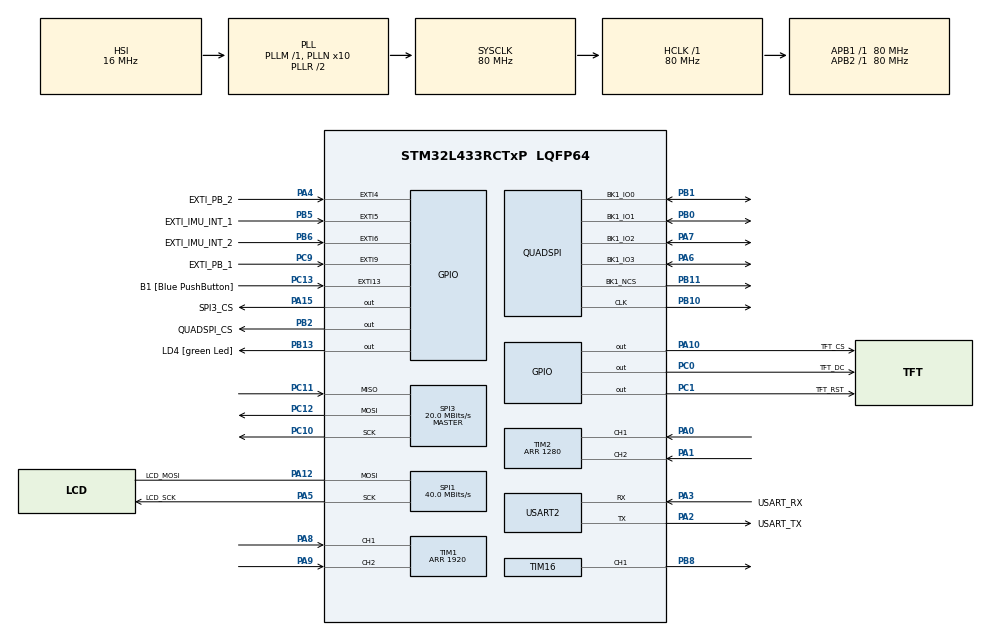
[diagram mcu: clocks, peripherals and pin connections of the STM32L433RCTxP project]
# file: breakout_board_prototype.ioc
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Mcu.Family=STM32L4
Mcu.Name=STM32L433RCTxP
Mcu.Package=LQFP64
NVIC.EXTI4_IRQn=true\:0\:0\:false\:false\:true\:true\:true\:true
NVIC.EXTI9_5_IRQn=true\:0\:0\:false\:false\:true\:true\:true\:true
NVIC.PriorityGroup=NVIC_PRIORITYGROUP_4
PA0.GPIO_PuPd=GPIO_PULLUP
PA0.Signal=S_TIM2_CH1
PA1.GPIO_PuPd=GPIO_PULLUP
PA1.Signal=S_TIM2_CH2
PA10.GPIO_Label=TFT_CS
PA10.GPIO_Speed=GPIO_SPEED_FREQ_VERY_HIGH
PA10.PinState=GPIO_PIN_SET
PA10.Signal=GPIO_Output
PA12.GPIO_Label=LCD_MOSI
PA12.Mode=Simplex_Bidirectional_Master
PA12.Signal=SPI1_MOSI
PA13\ (JTMS-SWDIO).GPIO_Label=TMS
PA13\ (JTMS-SWDIO).Mode=Serial_Wire
PA13\ (JTMS-SWDIO).Signal=SYS_JTMS-SWDIO
PA14\ (JTCK-SWCLK).GPIO_Label=TCK
PA14\ (JTCK-SWCLK).Mode=Serial_Wire
PA14\ (JTCK-SWCLK).Signal=SYS_JTCK-SWCLK
PA15\ (JTDI).GPIO_Label=SPI3_CS
PA15\ (JTDI).Signal=GPIO_Output
PA2.GPIO_Label=USART_TX
PA2.GPIO_Mode=GPIO_MODE_AF_PP
PA2.GPIO_PuPd=GPIO_NOPULL
PA2.GPIO_Speed=GPIO_SPEED_FREQ_VERY_HIGH
PA2.Mode=Asynchronous
PA2.Signal=USART2_TX
PA3.GPIO_Label=USART_RX
PA3.GPIO_Mode=GPIO_MODE_AF_PP
PA3.GPIO_PuPd=GPIO_NOPULL
PA3.GPIO_Speed=GPIO_SPEED_FREQ_VERY_HIGH
PA3.Mode=Asynchronous
PA3.Signal=USART2_RX
PA4.GPIO_Label=EXTI_PB_2
PA4.GPIO_ModeDefaultEXTI=GPIO_MODE_IT_FALLING
PA4.GPIO_PuPd=GPIO_PULLUP
PA4.Signal=GPXTI4
PA5.GPIO_Label=LCD_SCK
PA5.Mode=Simplex_Bidirectional_Master
PA5.Signal=SPI1_SCK
PA6.Mode=Single Bank 1
PA6.Signal=QUADSPI_BK1_IO3
PA7.Mode=Single Bank 1
PA7.Signal=QUADSPI_BK1_IO2
PA8.GPIO_PuPd=GPIO_PULLUP
PA8.Signal=S_TIM1_CH1
PA9.GPIO_PuPd=GPIO_PULLUP
PA9.Signal=S_TIM1_CH2
PB0.Mode=Single Bank 1
PB0.Signal=QUADSPI_BK1_IO1
PB1.Mode=Single Bank 1
PB1.Signal=QUADSPI_BK1_IO0
PB10.Mode=Single Bank 1
PB10.Signal=QUADSPI_CLK
PB11.Mode=Single Bank 1
PB11.Signal=QUADSPI_BK1_NCS
PB13.GPIO_Label=LD4 [green Led]
PB13.Signal=GPIO_Output
PB2.GPIO_Label=QUADSPI_CS
PB2.Signal=GPIO_Output
PB3\ (JTDO-TRACESWO).GPIO_Label=SWO
PB3\ (JTDO-TRACESWO).Signal=SYS_JTDO-SWO
PB5.GPIO_Label=EXTI_IMU_INT_1
PB5.Signal=GPXTI5
PB6.GPIO_Label=EXTI_IMU_INT_2
PB6.Signal=GPXTI6
PB8.GPIO_Speed=GPIO_SPEED_FREQ_HIGH
PB8.Signal=S_TIM16_CH1
PC0.GPIO_Label=TFT_DC
PC0.GPIO_Speed=GPIO_SPEED_FREQ_VERY_HIGH
PC0.Signal=GPIO_Output
PC1.GPIO_Label=TFT_RST
PC1.PinState=GPIO_PIN_SET
PC1.Signal=GPIO_Output
PC10.Mode=Full_Duplex_Master
PC10.Signal=SPI3_SCK
PC11.Mode=Full_Duplex_Master
PC11.Signal=SPI3_MISO
PC12.Mode=Full_Duplex_Master
PC12.Signal=SPI3_MOSI
PC13.GPIO_Label=B1 [Blue PushButton]
PC13.GPIO_ModeDefaultEXTI=GPIO_MODE_IT_FALLING
PC13.GPIO_PuPd=GPIO_NOPULL
PC13.Signal=GPXTI13
PC14-OSC32_IN\ (PC14).Mode=LSE-External-Oscillator
PC14-OSC32_IN\ (PC14).Signal=RCC_OSC32_IN
PC15-OSC32_OUT\ (PC15).Mode=LSE-External-Oscillator
PC15-OSC32_OUT\ (PC15).Signal=RCC_OSC32_OUT
PC9.GPIO_Label=EXTI_PB_1
PC9.GPIO_ModeDefaultEXTI=GPIO_MODE_IT_FALLING
PC9.GPIO_PuPd=GPIO_PULLUP
PC9.Signal=GPXTI9
PH0-OSC_IN\ (PH0).GPIO_Label=MCO
PH0-OSC_IN\ (PH0).Mode=HSE-External-Clock-Source
PH0-OSC_IN\ (PH0).Signal=RCC_OSC_IN
PH1-OSC_OUT\ (PH1).Signal=RCC_OSC_OUT
ProjectManager.HeapSize=0x200
ProjectManager.StackSize=0x400
ProjectManager.TargetToolchain=CMake
RCC.ADCFreq_Value=64000000
RCC.AHBFreq_Value=80000000
RCC.APB1Freq_Value=80000000
RCC.APB1TimFreq_Value=80000000
RCC.APB2Freq_Value=80000000
RCC.APB2TimFreq_Value=80000000
RCC.CortexFreq_Value=80000000
RCC.HCLKFreq_Value=80000000
RCC.HSE_VALUE=8000000
RCC.HSI48_VALUE=48000000
RCC.HSI_VALUE=16000000
RCC.MSI_VALUE=4000000
RCC.PLLN=10
RCC.PLLSourceVirtual=RCC_PLLSOURCE_HSI
RCC.PREFETCH_ENABLE=1
RCC.SYSCLKFreq_VALUE=80000000
RCC.SYSCLKSource=RCC_SYSCLKSOURCE_PLLCLK
RCC.USBFreq_Value=64000000
RCC.VCOOutputFreq_Value=160000000
SH.S_TIM16_CH1.0=TIM16_CH1,PWM Generation1 CH1
SH.S_TIM1_CH1.0=TIM1_CH1,Encoder_Interface
SH.S_TIM1_CH2.0=TIM1_CH2,Encoder_Interface
SH.S_TIM2_CH1.0=TIM2_CH1,Encoder_Interface
SH.S_TIM2_CH2.0=TIM2_CH2,Encoder_Interface
SPI1.BaudRatePrescaler=SPI_BAUDRATEPRESCALER_2
SPI1.CalculateBaudRate=40.0 MBits/s
SPI1.DataSize=SPI_DATASIZE_8BIT
SPI1.Direction=SPI_DIRECTION_1LINE
SPI1.Mode=SPI_MODE_MASTER
SPI1.VirtualType=VM_MASTER
SPI3.BaudRatePrescaler=SPI_BAUDRATEPRESCALER_4
SPI3.CalculateBaudRate=20.0 MBits/s
SPI3.DataSize=SPI_DATASIZE_8BIT
SPI3.Direction=SPI_DIRECTION_2LINES
SPI3.Mode=SPI_MODE_MASTER
SPI3.VirtualType=VM_MASTER
TIM1.EncoderMode=TIM_ENCODERMODE_TI12
TIM1.IC1Filter=15
TIM1.IC1Polarity=TIM_ICPOLARITY_FALLING
TIM1.IC2Filter=15
TIM1.IC2Polarity=TIM_ICPOLARITY_FALLING
TIM1.Period=1920
TIM16.Channel=TIM_CHANNEL_1
TIM16.Period=999
TIM16.Prescaler=79
TIM2.EncoderMode=TIM_ENCODERMODE_TI12
TIM2.IC1Filter=15
TIM2.IC1Polarity=TIM_ICPOLARITY_FALLING
TIM2.IC2Filter=15
TIM2.IC2Polarity=TIM_ICPOLARITY_FALLING
TIM2.Period=1280
USART2.VirtualMode-Asynchronous=VM_ASYNC
VP_TIM16_VS_ClockSourceINT.Mode=Enable_Timer
board=NUCLEO-L433RC-P

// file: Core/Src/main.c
/* USER CODE BEGIN Header */
/**
  ******************************************************************************
  * @file           : main.c
  * @brief          : Main program body
  ******************************************************************************
  * @attention
  *
  * Copyright (c) 2025 STMicroelectronics.
  * All rights reserved.
  *
  * This software is licensed under terms that can be found in the LICENSE file
  * in the root directory of this software component.
  * If no LICENSE file comes with this software, it is provided AS-IS.
  *
  ******************************************************************************
  */
/* USER CODE END Header */
#include "main.h"

/* USER CODE BEGIN Includes */
#include "icm_42688.h"
#include "ili9488.h"
/* USER CODE END Includes */

/* USER CODE BEGIN PD */

#define ETCH_A_SKETCH_YELLOW 0xd592
#define ACCEL_COUNTS_PER_G 16384  // Value for used calibration range
#define UPSIDE_DOWN_THRESHOLD   (int16_t)(-0.7f * ACCEL_COUNTS_PER_G)
#define debug_led_on() HAL_GPIO_WritePin(GPIOB, GPIO_PIN_13, GPIO_PIN_SET)
#define debug_led_off() HAL_GPIO_WritePin(GPIOB, GPIO_PIN_13, GPIO_PIN_RESET)

/* USER CODE END PD */

QSPI_HandleTypeDef hqspi;

SPI_HandleTypeDef hspi1;
SPI_HandleTypeDef hspi3;

TIM_HandleTypeDef htim1;
TIM_HandleTypeDef htim2;
TIM_HandleTypeDef htim16;

UART_HandleTypeDef huart2;

/* USER CODE BEGIN PV */

icm_42688_cfg_t imu_cfg;
volatile uint8_t smd_event_flag = 0;
volatile uint8_t state = 0;
volatile uint8_t last_state = 0;
volatile uint16_t last_x_pos = 1;
volatile uint16_t last_y_pos = 1;

/* USER CODE END PV */

void SystemClock_Config(void);
static void MX_GPIO_Init(void);
static void MX_QUADSPI_Init(void);
static void MX_SPI1_Init(void);
static void MX_TIM1_Init(void);
static void MX_TIM2_Init(void);
static void MX_TIM16_Init(void);
static void MX_USART2_UART_Init(void);
static void MX_SPI3_Init(void);
/* USER CODE BEGIN PFP */

static void clear_screen(int colour);

/* USER CODE END PFP */

int main(void)
{

  /* MCU Configuration--------------------------------------------------------*/

  /* Reset of all peripherals, Initializes the Flash interface and the Systick. */
  HAL_Init();

  /* Configure the system clock */
  SystemClock_Config();

  /* Initialize all configured peripherals */
  MX_GPIO_Init();
  MX_QUADSPI_Init();
  MX_SPI1_Init();
  MX_TIM1_Init();
  MX_TIM2_Init();
  MX_TIM16_Init();
  MX_USART2_UART_Init();
  MX_SPI3_Init();
  /* USER CODE BEGIN 2 */

  TIM16->CCR1 = TIM16->ARR;
  HAL_TIM_PWM_Start(&htim16, TIM_CHANNEL_1);
  HAL_TIM_Encoder_Start(&htim2, TIM_CHANNEL_ALL);
  HAL_TIM_Encoder_Start(&htim1, TIM_CHANNEL_ALL);
  icm_42688_config(&imu_cfg, &hspi3, GPIOA, GPIO_PIN_10);
  icm_42688_configure_device(&imu_cfg);
  icm_42688_apex_sig_motion_detect(&imu_cfg, 1);

  ILI9488_Init();   // Configure ILI9488 registers
  setRotation(3); // Set landscape mode. 0, 0 in bottom right
  clear_screen(ETCH_A_SKETCH_YELLOW);   // Set screen to blank colour
  /* USER CODE END 2 */

  /* Infinite loop */
  /* USER CODE BEGIN WHILE */
  while (1)
  {
    if (smd_event_flag == 1){
      smd_event_flag = 0;
      int16_t data[3] = {0};
      icm_42688_read_accel_xyz(&imu_cfg, data);
      if (data[2] < -UPSIDE_DOWN_THRESHOLD){
        clear_screen(ETCH_A_SKETCH_YELLOW);
      }
    }

    switch (state){
      case 0:
      {
        // Convert capture registers to cursor position
        uint16_t x_pos = TIM1->CNT / 4;
        uint16_t y_pos = TIM2->CNT / 4;

        if (x_pos != last_x_pos){
          uint16_t width = (x_pos > last_x_pos) ? (x_pos - last_x_pos) : (last_x_pos - x_pos);

          // Check for wrap overflow or underflow
          if (width > 440){
            // Normalize to border, recalculate width
            last_x_pos = (last_x_pos > 240) ? 0 : 480;
            width = (x_pos > last_x_pos) ? (x_pos - last_x_pos) : (last_x_pos - x_pos);
          }

          // Start point must be on the right
          uint16_t start_point = (x_pos > last_x_pos) ? last_x_pos : x_pos;
          drawFastHLine(start_point, last_y_pos, width, TFT9341_BLACK);
          last_x_pos = x_pos;
        }

        if (y_pos != last_y_pos){
          uint16_t width = (y_pos > last_y_pos) ? (y_pos - last_y_pos) : (last_y_pos - y_pos);

          // Check for wrap overflow or underflow
          if (width > 300){
            // Normalize to border, recalculate width
            last_y_pos = (last_y_pos > 160) ? 0 : 320;
            width = (y_pos > last_y_pos) ? (y_pos - last_y_pos) : (last_y_pos - y_pos);
          }

          // Start point must be on the bottom
          uint16_t start_point = (y_pos > last_y_pos) ? last_y_pos : y_pos;
          drawFastVLine(last_x_pos, start_point, width, TFT9341_BLACK);
          last_y_pos = y_pos;
        }
      }
      break;
      case 1:
      {
        // Convert TIM2 scale to TIM16 scale with integer division
        TIM16->CCR1 = (TIM2->CNT * TIM16->ARR) / (TIM2->ARR);
      }
      break;
    }

    /* USER CODE END WHILE */

  }
}

void SystemClock_Config(void)
{
  RCC_OscInitTypeDef RCC_OscInitStruct = {0};
  RCC_ClkInitTypeDef RCC_ClkInitStruct = {0};

  /** Configure the main internal regulator output voltage
  */
  if (HAL_PWREx_ControlVoltageScaling(PWR_REGULATOR_VOLTAGE_SCALE1) != HAL_OK)
  {
    Error_Handler();
  }

  /** Initializes the RCC Oscillators according to the specified parameters
  * in the RCC_OscInitTypeDef structure.
  */
  RCC_OscInitStruct.OscillatorType = RCC_OSCILLATORTYPE_HSI;
  RCC_OscInitStruct.HSIState = RCC_HSI_ON;
  RCC_OscInitStruct.HSICalibrationValue = RCC_HSICALIBRATION_DEFAULT;
  RCC_OscInitStruct.PLL.PLLState = RCC_PLL_ON;
  RCC_OscInitStruct.PLL.PLLSource = RCC_PLLSOURCE_HSI;
  RCC_OscInitStruct.PLL.PLLM = 1;
  RCC_OscInitStruct.PLL.PLLN = 10;
  RCC_OscInitStruct.PLL.PLLP = RCC_PLLP_DIV7;
  RCC_OscInitStruct.PLL.PLLQ = RCC_PLLQ_DIV2;
  RCC_OscInitStruct.PLL.PLLR = RCC_PLLR_DIV2;
  if (HAL_RCC_OscConfig(&RCC_OscInitStruct) != HAL_OK)
  {
    Error_Handler();
  }

  /** Initializes the CPU, AHB and APB buses clocks
  */
  RCC_ClkInitStruct.ClockType = RCC_CLOCKTYPE_HCLK|RCC_CLOCKTYPE_SYSCLK
                              |RCC_CLOCKTYPE_PCLK1|RCC_CLOCKTYPE_PCLK2;
  RCC_ClkInitStruct.SYSCLKSource = RCC_SYSCLKSOURCE_PLLCLK;
  RCC_ClkInitStruct.AHBCLKDivider = RCC_SYSCLK_DIV1;
  RCC_ClkInitStruct.APB1CLKDivider = RCC_HCLK_DIV1;
  RCC_ClkInitStruct.APB2CLKDivider = RCC_HCLK_DIV1;

  if (HAL_RCC_ClockConfig(&RCC_ClkInitStruct, FLASH_LATENCY_4) != HAL_OK)
  {
    Error_Handler();
  }
}

static void MX_QUADSPI_Init(void)
{

  /* QUADSPI parameter configuration*/
  hqspi.Instance = QUADSPI;
  hqspi.Init.ClockPrescaler = 255;
  hqspi.Init.FifoThreshold = 1;
  hqspi.Init.SampleShifting = QSPI_SAMPLE_SHIFTING_NONE;
  hqspi.Init.FlashSize = 1;
  hqspi.Init.ChipSelectHighTime = QSPI_CS_HIGH_TIME_1_CYCLE;
  hqspi.Init.ClockMode = QSPI_CLOCK_MODE_0;
  hqspi.Init.FlashID = QSPI_FLASH_ID_1;
  hqspi.Init.DualFlash = QSPI_DUALFLASH_DISABLE;
  if (HAL_QSPI_Init(&hqspi) != HAL_OK)
  {
    Error_Handler();
  }

}

static void MX_SPI1_Init(void)
{

  /* SPI1 parameter configuration*/
  hspi1.Instance = SPI1;
  hspi1.Init.Mode = SPI_MODE_MASTER;
  hspi1.Init.Direction = SPI_DIRECTION_1LINE;
  hspi1.Init.DataSize = SPI_DATASIZE_8BIT;
  hspi1.Init.CLKPolarity = SPI_POLARITY_LOW;
  hspi1.Init.CLKPhase = SPI_PHASE_1EDGE;
  hspi1.Init.NSS = SPI_NSS_SOFT;
  hspi1.Init.BaudRatePrescaler = SPI_BAUDRATEPRESCALER_2;
  hspi1.Init.FirstBit = SPI_FIRSTBIT_MSB;
  hspi1.Init.TIMode = SPI_TIMODE_DISABLE;
  hspi1.Init.CRCCalculation = SPI_CRCCALCULATION_DISABLE;
  hspi1.Init.CRCPolynomial = 7;
  hspi1.Init.CRCLength = SPI_CRC_LENGTH_DATASIZE;
  hspi1.Init.NSSPMode = SPI_NSS_PULSE_ENABLE;
  if (HAL_SPI_Init(&hspi1) != HAL_OK)
  {
    Error_Handler();
  }

}

static void MX_SPI3_Init(void)
{

  /* SPI3 parameter configuration*/
  hspi3.Instance = SPI3;
  hspi3.Init.Mode = SPI_MODE_MASTER;
  hspi3.Init.Direction = SPI_DIRECTION_2LINES;
  hspi3.Init.DataSize = SPI_DATASIZE_8BIT;
  hspi3.Init.CLKPolarity = SPI_POLARITY_LOW;
  hspi3.Init.CLKPhase = SPI_PHASE_1EDGE;
  hspi3.Init.NSS = SPI_NSS_SOFT;
  hspi3.Init.BaudRatePrescaler = SPI_BAUDRATEPRESCALER_4;
  hspi3.Init.FirstBit = SPI_FIRSTBIT_MSB;
  hspi3.Init.TIMode = SPI_TIMODE_DISABLE;
  hspi3.Init.CRCCalculation = SPI_CRCCALCULATION_DISABLE;
  hspi3.Init.CRCPolynomial = 7;
  hspi3.Init.CRCLength = SPI_CRC_LENGTH_DATASIZE;
  hspi3.Init.NSSPMode = SPI_NSS_PULSE_ENABLE;
  if (HAL_SPI_Init(&hspi3) != HAL_OK)
  {
    Error_Handler();
  }

}

static void MX_TIM1_Init(void)
{

  TIM_Encoder_InitTypeDef sConfig = {0};
  TIM_MasterConfigTypeDef sMasterConfig = {0};

  htim1.Instance = TIM1;
  htim1.Init.Prescaler = 0;
  htim1.Init.CounterMode = TIM_COUNTERMODE_UP;
  htim1.Init.Period = 1920;
  htim1.Init.ClockDivision = TIM_CLOCKDIVISION_DIV1;
  htim1.Init.RepetitionCounter = 0;
  htim1.Init.AutoReloadPreload = TIM_AUTORELOAD_PRELOAD_DISABLE;
  sConfig.EncoderMode = TIM_ENCODERMODE_TI12;
  sConfig.IC1Polarity = TIM_ICPOLARITY_FALLING;
  sConfig.IC1Selection = TIM_ICSELECTION_DIRECTTI;
  sConfig.IC1Prescaler = TIM_ICPSC_DIV1;
  sConfig.IC1Filter = 15;
  sConfig.IC2Polarity = TIM_ICPOLARITY_FALLING;
  sConfig.IC2Selection = TIM_ICSELECTION_DIRECTTI;
  sConfig.IC2Prescaler = TIM_ICPSC_DIV1;
  sConfig.IC2Filter = 15;
  if (HAL_TIM_Encoder_Init(&htim1, &sConfig) != HAL_OK)
  {
    Error_Handler();
  }
  sMasterConfig.MasterOutputTrigger = TIM_TRGO_RESET;
  sMasterConfig.MasterOutputTrigger2 = TIM_TRGO2_RESET;
  sMasterConfig.MasterSlaveMode = TIM_MASTERSLAVEMODE_DISABLE;
  if (HAL_TIMEx_MasterConfigSynchronization(&htim1, &sMasterConfig) != HAL_OK)
  {
    Error_Handler();
  }

}

static void MX_TIM2_Init(void)
{

  TIM_Encoder_InitTypeDef sConfig = {0};
  TIM_MasterConfigTypeDef sMasterConfig = {0};

  htim2.Instance = TIM2;
  htim2.Init.Prescaler = 0;
  htim2.Init.CounterMode = TIM_COUNTERMODE_UP;
  htim2.Init.Period = 1280;
  htim2.Init.ClockDivision = TIM_CLOCKDIVISION_DIV1;
  htim2.Init.AutoReloadPreload = TIM_AUTORELOAD_PRELOAD_DISABLE;
  sConfig.EncoderMode = TIM_ENCODERMODE_TI12;
  sConfig.IC1Polarity = TIM_ICPOLARITY_FALLING;
  sConfig.IC1Selection = TIM_ICSELECTION_DIRECTTI;
  sConfig.IC1Prescaler = TIM_ICPSC_DIV1;
  sConfig.IC1Filter = 15;
  sConfig.IC2Polarity = TIM_ICPOLARITY_FALLING;
  sConfig.IC2Selection = TIM_ICSELECTION_DIRECTTI;
  sConfig.IC2Prescaler = TIM_ICPSC_DIV1;
  sConfig.IC2Filter = 15;
  if (HAL_TIM_Encoder_Init(&htim2, &sConfig) != HAL_OK)
  {
    Error_Handler();
  }
  sMasterConfig.MasterOutputTrigger = TIM_TRGO_RESET;
  sMasterConfig.MasterSlaveMode = TIM_MASTERSLAVEMODE_DISABLE;
  if (HAL_TIMEx_MasterConfigSynchronization(&htim2, &sMasterConfig) != HAL_OK)
  {
    Error_Handler();
  }

}

static void MX_TIM16_Init(void)
{

  TIM_OC_InitTypeDef sConfigOC = {0};
  TIM_BreakDeadTimeConfigTypeDef sBreakDeadTimeConfig = {0};

  htim16.Instance = TIM16;
  htim16.Init.Prescaler = 79;
  htim16.Init.CounterMode = TIM_COUNTERMODE_UP;
  htim16.Init.Period = 999;
  htim16.Init.ClockDivision = TIM_CLOCKDIVISION_DIV1;
  htim16.Init.RepetitionCounter = 0;
  htim16.Init.AutoReloadPreload = TIM_AUTORELOAD_PRELOAD_DISABLE;
  if (HAL_TIM_Base_Init(&htim16) != HAL_OK)
  {
    Error_Handler();
  }
  if (HAL_TIM_PWM_Init(&htim16) != HAL_OK)
  {
    Error_Handler();
  }
  sConfigOC.OCMode = TIM_OCMODE_PWM1;
  sConfigOC.Pulse = 0;
  sConfigOC.OCPolarity = TIM_OCPOLARITY_HIGH;
  sConfigOC.OCNPolarity = TIM_OCNPOLARITY_HIGH;
  sConfigOC.OCFastMode = TIM_OCFAST_DISABLE;
  sConfigOC.OCIdleState = TIM_OCIDLESTATE_RESET;
  sConfigOC.OCNIdleState = TIM_OCNIDLESTATE_RESET;
  if (HAL_TIM_PWM_ConfigChannel(&htim16, &sConfigOC, TIM_CHANNEL_1) != HAL_OK)
  {
    Error_Handler();
  }
  sBreakDeadTimeConfig.OffStateRunMode = TIM_OSSR_DISABLE;
  sBreakDeadTimeConfig.OffStateIDLEMode = TIM_OSSI_DISABLE;
  sBreakDeadTimeConfig.LockLevel = TIM_LOCKLEVEL_OFF;
  sBreakDeadTimeConfig.DeadTime = 0;
  sBreakDeadTimeConfig.BreakState = TIM_BREAK_DISABLE;
  sBreakDeadTimeConfig.BreakPolarity = TIM_BREAKPOLARITY_HIGH;
  sBreakDeadTimeConfig.AutomaticOutput = TIM_AUTOMATICOUTPUT_DISABLE;
  if (HAL_TIMEx_ConfigBreakDeadTime(&htim16, &sBreakDeadTimeConfig) != HAL_OK)
  {
    Error_Handler();
  }
  HAL_TIM_MspPostInit(&htim16);

}

static void MX_USART2_UART_Init(void)
{

  huart2.Instance = USART2;
  huart2.Init.BaudRate = 115200;
  huart2.Init.WordLength = UART_WORDLENGTH_8B;
  huart2.Init.StopBits = UART_STOPBITS_1;
  huart2.Init.Parity = UART_PARITY_NONE;
  huart2.Init.Mode = UART_MODE_TX_RX;
  huart2.Init.HwFlowCtl = UART_HWCONTROL_NONE;
  huart2.Init.OverSampling = UART_OVERSAMPLING_16;
  huart2.Init.OneBitSampling = UART_ONE_BIT_SAMPLE_DISABLE;
  huart2.AdvancedInit.AdvFeatureInit = UART_ADVFEATURE_NO_INIT;
  if (HAL_UART_Init(&huart2) != HAL_OK)
  {
    Error_Handler();
  }

}

static void MX_GPIO_Init(void)
{
  GPIO_InitTypeDef GPIO_InitStruct = {0};

  /* GPIO Ports Clock Enable */
  __HAL_RCC_GPIOC_CLK_ENABLE();
  __HAL_RCC_GPIOH_CLK_ENABLE();
  __HAL_RCC_GPIOA_CLK_ENABLE();
  __HAL_RCC_GPIOB_CLK_ENABLE();

  /*Configure GPIO pin Output Level */
  HAL_GPIO_WritePin(TFT_DC_GPIO_Port, TFT_DC_Pin, GPIO_PIN_RESET);

  /*Configure GPIO pin Output Level */
  HAL_GPIO_WritePin(TFT_RST_GPIO_Port, TFT_RST_Pin, GPIO_PIN_SET);

  /*Configure GPIO pin Output Level */
  HAL_GPIO_WritePin(GPIOB, QUADSPI_CS_Pin|LD4_Pin, GPIO_PIN_RESET);

  /*Configure GPIO pin Output Level */
  HAL_GPIO_WritePin(TFT_CS_GPIO_Port, TFT_CS_Pin, GPIO_PIN_SET);

  /*Configure GPIO pin Output Level */
  HAL_GPIO_WritePin(SPI3_CS_GPIO_Port, SPI3_CS_Pin, GPIO_PIN_RESET);

  /*Configure GPIO pin : B1_Pin */
  GPIO_InitStruct.Pin = B1_Pin;
  GPIO_InitStruct.Mode = GPIO_MODE_IT_FALLING;
  GPIO_InitStruct.Pull = GPIO_NOPULL;
  HAL_GPIO_Init(B1_GPIO_Port, &GPIO_InitStruct);

  /*Configure GPIO pin : TFT_DC_Pin */
  GPIO_InitStruct.Pin = TFT_DC_Pin;
  GPIO_InitStruct.Mode = GPIO_MODE_OUTPUT_PP;
  GPIO_InitStruct.Pull = GPIO_NOPULL;
  GPIO_InitStruct.Speed = GPIO_SPEED_FREQ_VERY_HIGH;
  HAL_GPIO_Init(TFT_DC_GPIO_Port, &GPIO_InitStruct);

  /*Configure GPIO pin : TFT_RST_Pin */
  GPIO_InitStruct.Pin = TFT_RST_Pin;
  GPIO_InitStruct.Mode = GPIO_MODE_OUTPUT_PP;
  GPIO_InitStruct.Pull = GPIO_NOPULL;
  GPIO_InitStruct.Speed = GPIO_SPEED_FREQ_LOW;
  HAL_GPIO_Init(TFT_RST_GPIO_Port, &GPIO_InitStruct);

  /*Configure GPIO pin : EXTI_PB_2_Pin */
  GPIO_InitStruct.Pin = EXTI_PB_2_Pin;
  GPIO_InitStruct.Mode = GPIO_MODE_IT_FALLING;
  GPIO_InitStruct.Pull = GPIO_PULLUP;
  HAL_GPIO_Init(EXTI_PB_2_GPIO_Port, &GPIO_InitStruct);

  /*Configure GPIO pins : QUADSPI_CS_Pin LD4_Pin */
  GPIO_InitStruct.Pin = QUADSPI_CS_Pin|LD4_Pin;
  GPIO_InitStruct.Mode = GPIO_MODE_OUTPUT_PP;
  GPIO_InitStruct.Pull = GPIO_NOPULL;
  GPIO_InitStruct.Speed = GPIO_SPEED_FREQ_LOW;
  HAL_GPIO_Init(GPIOB, &GPIO_InitStruct);

  /*Configure GPIO pin : EXTI_PB_1_Pin */
  GPIO_InitStruct.Pin = EXTI_PB_1_Pin;
  GPIO_InitStruct.Mode = GPIO_MODE_IT_FALLING;
  GPIO_InitStruct.Pull = GPIO_PULLUP;
  HAL_GPIO_Init(EXTI_PB_1_GPIO_Port, &GPIO_InitStruct);

  /*Configure GPIO pin : TFT_CS_Pin */
  GPIO_InitStruct.Pin = TFT_CS_Pin;
  GPIO_InitStruct.Mode = GPIO_MODE_OUTPUT_PP;
  GPIO_InitStruct.Pull = GPIO_NOPULL;
  GPIO_InitStruct.Speed = GPIO_SPEED_FREQ_VERY_HIGH;
  HAL_GPIO_Init(TFT_CS_GPIO_Port, &GPIO_InitStruct);

  /*Configure GPIO pin : SPI3_CS_Pin */
  GPIO_InitStruct.Pin = SPI3_CS_Pin;
  GPIO_InitStruct.Mode = GPIO_MODE_OUTPUT_PP;
  GPIO_InitStruct.Pull = GPIO_NOPULL;
  GPIO_InitStruct.Speed = GPIO_SPEED_FREQ_LOW;
  HAL_GPIO_Init(SPI3_CS_GPIO_Port, &GPIO_InitStruct);

  /*Configure GPIO pins : EXTI_IMU_INT_1_Pin EXTI_IMU_INT_2_Pin */
  GPIO_InitStruct.Pin = EXTI_IMU_INT_1_Pin|EXTI_IMU_INT_2_Pin;
  GPIO_InitStruct.Mode = GPIO_MODE_IT_RISING;
  GPIO_InitStruct.Pull = GPIO_NOPULL;
  HAL_GPIO_Init(GPIOB, &GPIO_InitStruct);

  /* EXTI interrupt init*/
  HAL_NVIC_SetPriority(EXTI4_IRQn, 0, 0);
  HAL_NVIC_EnableIRQ(EXTI4_IRQn);

  HAL_NVIC_SetPriority(EXTI9_5_IRQn, 0, 0);
  HAL_NVIC_EnableIRQ(EXTI9_5_IRQn);

}

/* USER CODE BEGIN 4 */

void HAL_GPIO_EXTI_Callback(uint16_t GPIO_Pin) {
  if (GPIO_Pin == EXTI_PB_1_Pin) {
    if (state != 1){
      // Save cursor position and state
      last_x_pos = TIM1->CNT / 4;
      last_y_pos = TIM2->CNT / 4;
      TIM2->CNT = (TIM16->CCR1 * TIM2->ARR) / TIM16->ARR;
      last_state = state;
      state = 1;
    } else {
      // Restore cursor and state
      TIM1->CNT = last_x_pos * 4;
      TIM2->CNT = last_y_pos * 4;
      state = last_state;
    }
  } else if (GPIO_Pin == EXTI_IMU_INT_1_Pin) {
    smd_event_flag = 1;
  }
}

static void clear_screen(int colour) {
   // Set screen to blank colour without overloading memory
  for (int i = 0; i < 16; i++) {
    fillRect(0, 20 * i, 480, 20, colour);
  }
}

/* USER CODE END 4 */

void Error_Handler(void)
{
  __disable_irq();
  while (1)
  {
  }
}
